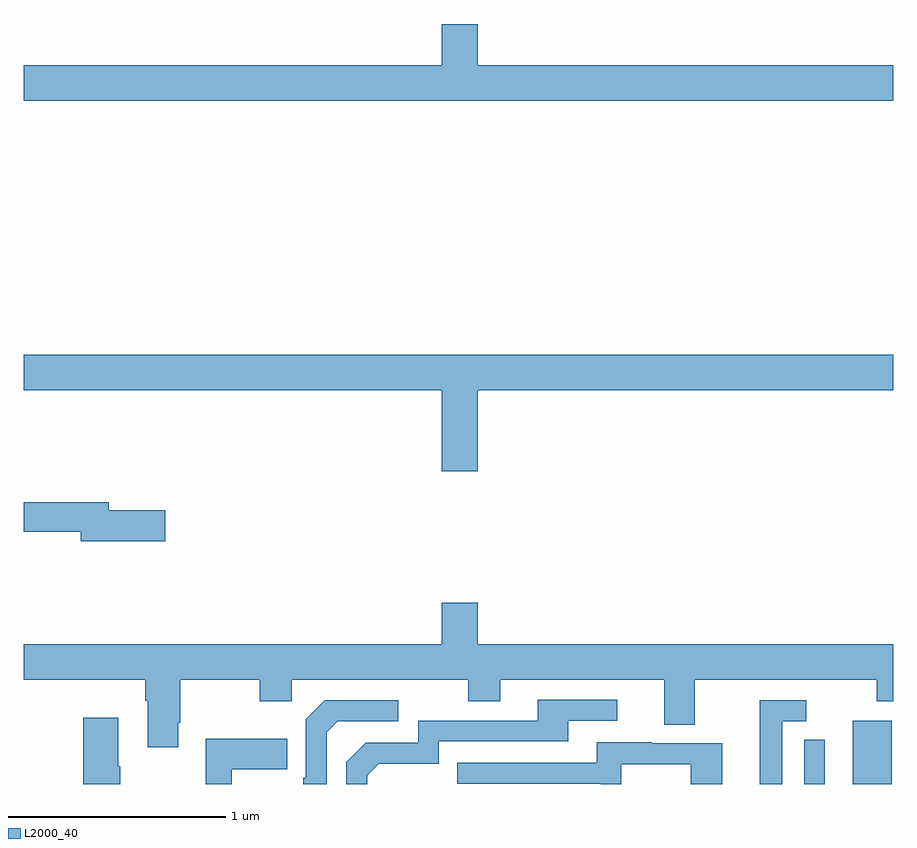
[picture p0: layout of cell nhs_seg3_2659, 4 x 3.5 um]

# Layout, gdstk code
import gdstk
lib = gdstk.Library(unit=1e-6, precision=1e-09)
def R(c, l, rs):  # rectangles x0, y0, x1, y1
    for r in rs: c.add(gdstk.rectangle(r[:2], r[2:], *l))
def P(c, l, *ps):  # polygons
    for p in ps: c.add(gdstk.Polygon(p, *l))
L2000_40 = (2000, 40)

nhs_seg3_2659 = lib.new_cell('nhs_seg3_2659')
R(nhs_seg3_2659, L2000_40, [(250.814,736.4,250.993,736.69)])
P(nhs_seg3_2659, L2000_40, [(251,739.708),(249.088,739.708),(249.088,739.897),(248.924,739.897),(248.924,739.708),(247,739.708),(247,739.544),(251,739.544)],
  [(249.088,738.212),(251,738.212),(251,738.376),(247,738.376),(247,738.212),(248.924,738.212),(248.924,737.838),(249.088,737.838)],
  [(247.651,737.66),(247.39,737.66),(247.39,737.696),(247,737.696),(247,737.56),(247.262,737.56),(247.262,737.518),(247.651,737.518)],
  [(249.088,737.233),(248.924,737.233),(248.924,737.044),(247,737.044),(247,736.88),(247.559,736.88),(247.559,736.784),(247.571,736.784),(247.571,736.569),(247.711,736.569),(247.711,736.681),(247.719,736.681),(247.719,736.88),(248.086,736.88),(248.086,736.781),(248.232,736.781),(248.232,736.88),(249.046,736.88),(249.046,736.781),(249.193,736.781),(249.193,736.88),(249.947,736.88),(249.947,736.672),(250.087,736.672),(250.087,736.88),(250.924,736.88),(250.924,736.781),(251,736.781),(251,737.044),(249.088,737.044)],
  [(248.58,736.44),(248.633,736.493),(248.91,736.493),(248.91,736.596),(249.505,736.596),(249.505,736.692),(249.73,736.692),(249.73,736.788),(249.365,736.788),(249.365,736.692),(248.814,736.692),(248.814,736.59),(248.574,736.59),(248.484,736.5),(248.484,736.4),(248.58,736.4)],
  [(248.394,736.638),(248.445,736.689),(248.722,736.689),(248.722,736.785),(248.385,736.785),(248.298,736.698),(248.298,736.429),(248.286,736.429),(248.286,736.4),(248.394,736.4)],
  [(250.489,736.689),(250.6,736.689),(250.6,736.785),(250.385,736.785),(250.385,736.4),(250.489,736.4)],
  [(247.443,736.481),(247.435,736.481),(247.435,736.705),(247.273,736.705),(247.273,736.4),(247.443,736.4)],
  [(247.957,736.469),(248.213,736.469),(248.213,736.609),(247.836,736.609),(247.836,736.4),(247.957,736.4)],
  [(250.685,736.45),(250.686,736.45),(250.686,736.604),(250.59,736.604),(250.59,736.4),(250.685,736.4)],
  [(249.75,736.491),(250.068,736.491),(250.068,736.4),(250.213,736.4),(250.213,736.587),(249.889,736.587),(249.889,736.591),(249.635,736.591),(249.635,736.497),(248.995,736.497),(248.995,736.401),(249.654,736.401),(249.654,736.4),(249.75,736.4)])

lib.write_gds('nhs_seg3_2659.gds')
